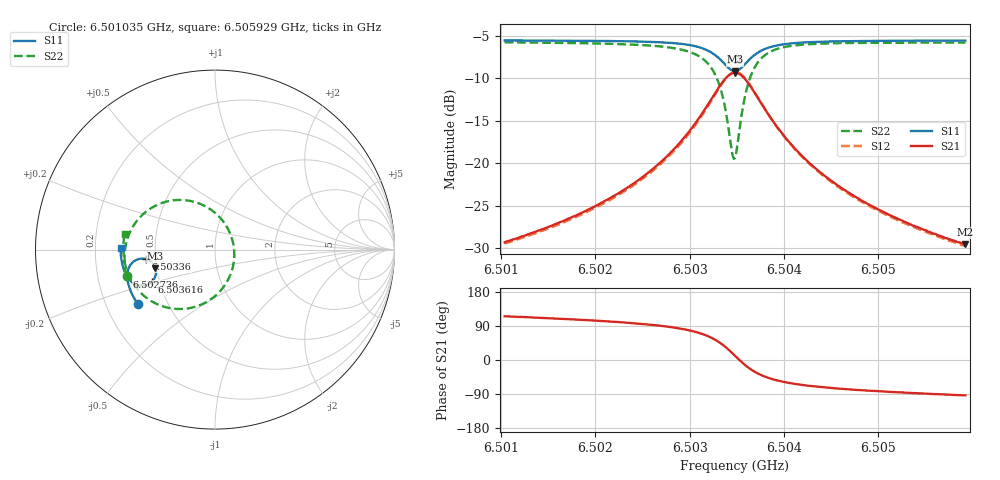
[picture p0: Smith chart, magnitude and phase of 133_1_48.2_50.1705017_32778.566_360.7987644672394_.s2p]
#  HZ  S  RI  R  50.00
! Rohde & Schwarz Vector Network Analyzer
! Rohde-Schwarz,ZNB20-2Port,1311601062101988,3.16
! Created: UTC 3/20/2024, 11:41:59 AM
! freq[Hz]  re:S11  im:S11  re:S21  im:S21  re:S12  im:S12  re:S22  im:S22
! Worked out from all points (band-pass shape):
!   401 points, 6.501035 GHz to 6.505929 GHz, reference 50 ohm
!   highest |S21| = -9.36 dB at 6.503482 GHz (marker M1); lowest = -29.5 dB at 6.505929 GHz (marker M2)
!   |S21| within 3 dB of the highest: 6.503237 GHz to 6.503727 GHz (490.2 kHz wide, 0.00754 % of centre)
!   lowest |S11| = -9.2 dB at 6.503482 GHz (marker M3), VSWR 2.07, Z = 24.6 - j5.81 ohm
!   |S11| at or under -10 dB: nowhere
!   |S22| runs from -19.5 to -5.8 dB; largest |S21 - S12| = 0.012
!   S11 on the Smith chart (normalised r, x): 6.501035 GHz: 0.34, -0.28; 6.502736 GHz: 0.33, -0.14; 6.50336 GHz: 0.44, -0.05; 6.503616 GHz: 0.45, -0.19; 6.505929 GHz: 0.31, +0.01
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6.5010351e9  -0.4302 -0.3035  -0.0147 0.0311  -0.013 0.0312  -0.4926 -0.1457
6.5018548e9  -0.4649 -0.2423  -0.014 0.0493  -0.0116 0.0489  -0.5043 -0.0567
6.5023319e9  -0.4811 -0.199  -0.0106 0.0708  -0.00762 0.0695  -0.4994 0.0135
6.5026744e9  -0.4886 -0.1599  -0.00134 0.0995  0.00233 0.0971  -0.479 0.0853
6.5027356e9  -0.489 -0.1517  0.00182 0.1068  0.00558 0.104  -0.4719 0.1013
6.5029558e9  -0.4854 -0.1166  0.0241 0.1424  0.0279 0.138  -0.4252 0.1723
6.5031148e9  -0.4706 -0.0843  0.0638 0.1785  0.0667 0.1727  -0.3479 0.236
6.5032616e9  -0.4325 -0.0548  0.1462 0.2073  0.1469 0.2007  -0.1975 0.2768
6.5033106e9  -0.4111 -0.0499  0.189 0.2057  0.1893 0.1999  -0.1224 0.2677
6.5033595e9  -0.3858 -0.0521  0.2382 0.1903  0.2383 0.1854  -0.0381 0.2326
6.5034451e9  -0.3429 -0.0816  0.3165 0.1149  0.319 0.1104  0.0869 0.0839
6.5034818e9  -0.3321 -0.1038  0.3341 0.0658  0.3377 0.0601  0.1072 -0.00826
6.5035063e9  -0.3292 -0.1201  0.3375 0.031  0.3412 0.024  0.1044 -0.0722
6.503543e9  -0.3314 -0.1442  0.3299 -0.0194  0.3331 -0.0284  0.0763 -0.1613
6.5036164e9  -0.3537 -0.1812  0.2829 -0.0958  0.2826 -0.1074  -0.0349 -0.2844
6.5037265e9  -0.3996 -0.2013  0.1955 -0.1413  0.1899 -0.1509  -0.2119 -0.3307
6.5038856e9  -0.4469 -0.1919  0.1112 -0.1371  0.104 -0.1423  -0.3636 -0.2816
6.5040568e9  -0.4747 -0.1705  0.0655 -0.1161  0.0591 -0.1185  -0.4374 -0.2147
6.5043015e9  -0.4958 -0.1407  0.0348 -0.0907  0.0298 -0.0914  -0.4816 -0.1407
6.5046685e9  -0.5114 -0.1017  0.0154 -0.0668  0.0119 -0.0663  -0.5046 -0.0649
6.5051212e9  -0.521 -0.0595  0.00528 -0.0495  0.00289 -0.0488  -0.5108 0.000854
6.5059286e9  -0.526 0.00934  -0.00201 -0.0333  -0.00337 -0.0325  -0.5034 0.088
